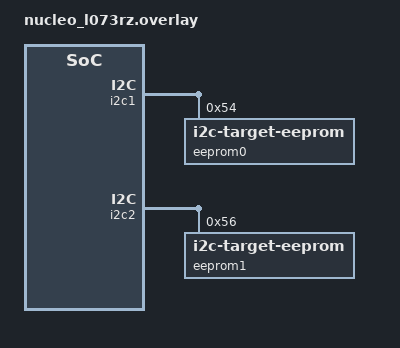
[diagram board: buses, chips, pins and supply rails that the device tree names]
/* SPDX-License-Identifier: Apache-2.0 */

/* I2C bus pins are exposed on the ST morpho header.
 *
 *  Bus        SDA               SCL
 *          Pin   Hdr         Pin   Hdr
 *  i2c1    PB9   CN10:5      PB8   CN10:3
 *  i2c2    PB11  CN10:18     PB10  CN10:25
 *
 * Short Pin PB9 to PB11, and PB8 to PB10, for the test to pass.
 */

#define IC2_TEST_0_DMA_TX <&dma1 6 6 STM32_DMA_PERIPH_TX>
#define IC2_TEST_0_DMA_RX <&dma1 7 6 STM32_DMA_PERIPH_RX>

i2c_test_0: &i2c1 {
	dmas = IC2_TEST_0_DMA_TX, IC2_TEST_0_DMA_RX;
	dma-names = "tx", "rx";

	eeprom0: eeprom@54 {
		compatible = "zephyr,i2c-target-eeprom";
		reg = <0x54>;
		size = <256>;
	};
};

#define IC2_TEST_1_DMA_TX <&dma1 4 7 STM32_DMA_PERIPH_TX>
#define IC2_TEST_1_DMA_RX <&dma1 5 7 STM32_DMA_PERIPH_RX>

i2c_test_1: &i2c2 {
	dmas = IC2_TEST_1_DMA_TX, IC2_TEST_1_DMA_RX;
	dma-names = "tx", "rx";

	eeprom1: eeprom@56 {
		compatible = "zephyr,i2c-target-eeprom";
		reg = <0x56>;
		size = <256>;
	};
};

&dma1 {
	status = "okay";
};
